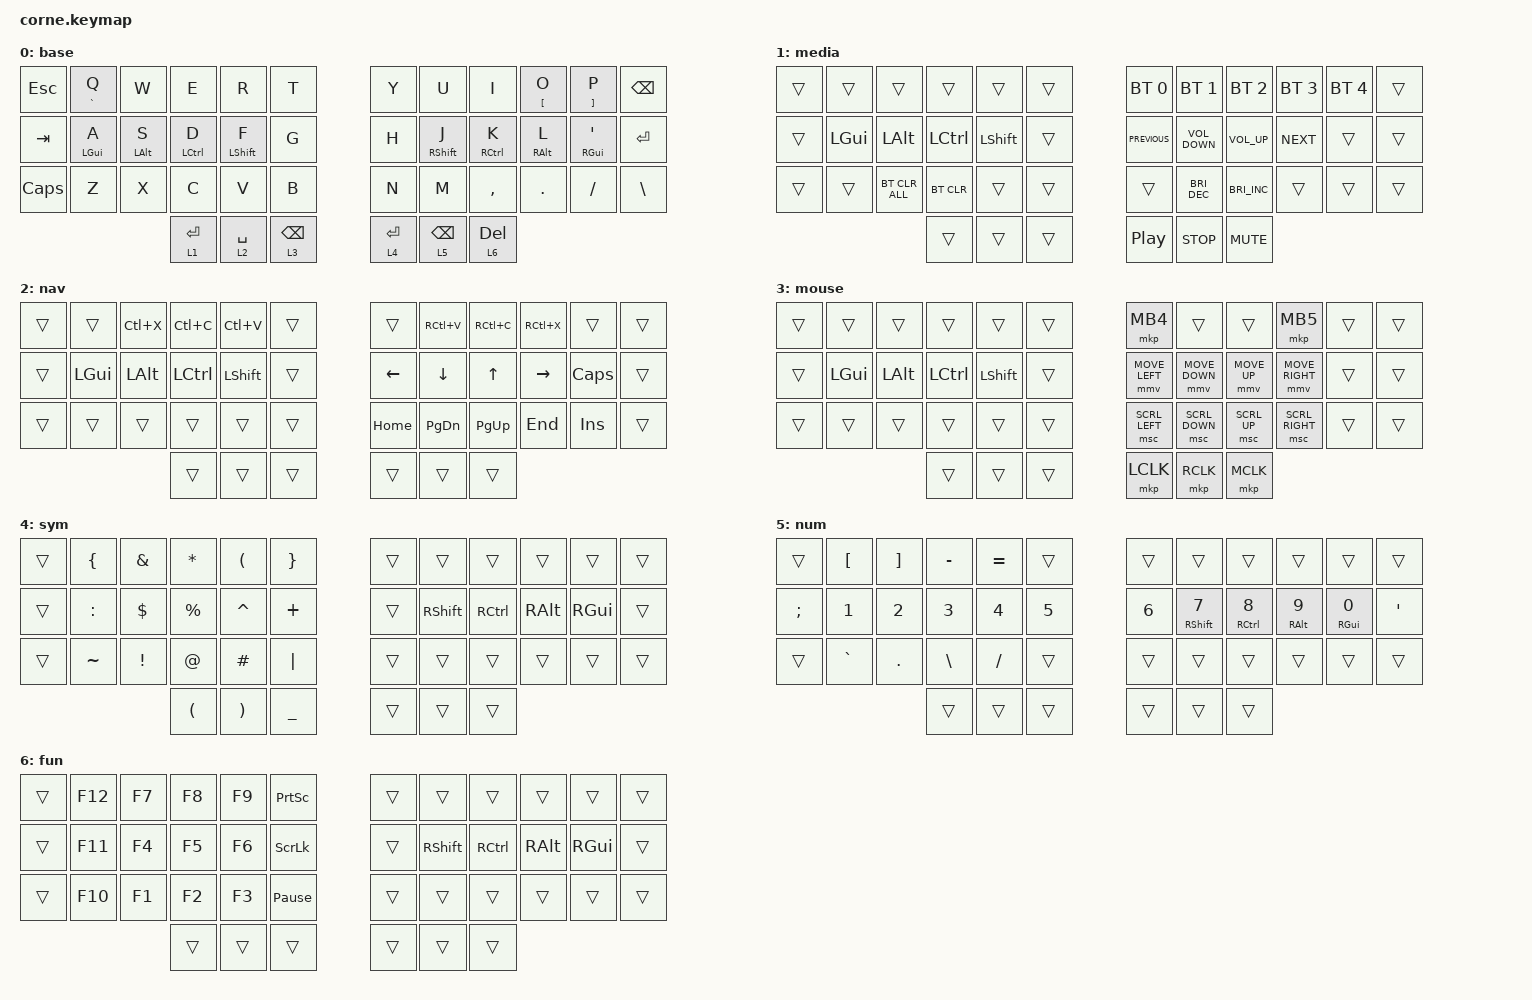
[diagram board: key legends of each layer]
/*
 * Copyright (c) 2020 The ZMK Contributors
 *
 * SPDX-License-Identifier: MIT
 */

#define ZMK_POINTING_DEFAULT_MOVE_VAL 1500  // default: 600
#define ZMK_POINTING_DEFAULT_SCRL_VAL 20    // default: 10

#include <behaviors.dtsi>
#include <dt-bindings/zmk/bt.h>
#include <dt-bindings/zmk/keys.h>
#include <dt-bindings/zmk/pointing.h>

/ {
    combos { compatible = "zmk,combos"; };

    behaviors {
        hml: hml {
            compatible = "zmk,behavior-hold-tap";
            label = "HML";
            bindings = <&kp>, <&kp>;

            #binding-cells = <2>;
            tapping-term-ms = <220>;
            quick-tap-ms = <175>;
            flavor = "balanced";
            require-prior-idle-ms = <100>;
            hold-trigger-key-positions = <39 40 41 30 18 6 7 9 10 11 18 19 20 21 22 23 30 31 32 33 34 35 40 41 8 36 37 38>;
            hold-trigger-on-release;
        };

        hmr: hmr {
            compatible = "zmk,behavior-hold-tap";
            label = "HMR";
            bindings = <&kp>, <&kp>;

            #binding-cells = <2>;
            tapping-term-ms = <220>;
            quick-tap-ms = <175>;
            require-prior-idle-ms = <100>;
            flavor = "balanced";
            hold-trigger-key-positions = <0 1 2 3 4 5 12 13 14 15 16 17 24 25 26 27 28 29 36 37 38 39 40 41>;
            hold-trigger-on-release;
        };

        tkl: tkl {
            compatible = "zmk,behavior-hold-tap";
            label = "TKL";
            bindings = <&mo>, <&kp>;

            #binding-cells = <2>;
            tapping-term-ms = <220>;
            quick-tap-ms = <175>;
            flavor = "balanced";
            require-prior-idle-ms = <100>;
            hold-trigger-key-positions = <39 40 41 30 18 6 7 9 10 11 18 19 20 21 22 23 30 31 32 33 34 35 40 41 8 38 37 36>;
            hold-trigger-on-release;
        };

        tkr: tkr {
            compatible = "zmk,behavior-hold-tap";
            label = "TKR";
            bindings = <&mo>, <&kp>;

            #binding-cells = <2>;
            tapping-term-ms = <220>;
            quick-tap-ms = <175>;
            require-prior-idle-ms = <100>;
            flavor = "balanced";
            hold-trigger-key-positions = <0 1 2 3 4 5 12 13 14 15 16 17 24 25 26 27 28 29 36 37 38 39 40 41>;
            hold-trigger-on-release;
        };
    };

    keymap {
        compatible = "zmk,keymap";

        base {
            // -----------------------------------------------------------------------------------------
            // |  TAB |  Q  |  W  |  E  |  R  |  T  |   |  Y  |  U   |  I  |  O  |  P  | BKSP |
            // | CTRL |  A  |  S  |  D  |  F  |  G  |   |  H  |  J   |  K  |  L  |  ;  |  '   |
            // | SHFT |  Z  |  X  |  C  |  V  |  B  |   |  N  |  M   |  ,  |  .  |  /  | ESC  |
            //                    | GUI | LWR | SPC |   | ENT | RSE  | ALT |

            bindings = <
&kp ESCAPE  &mt GRAVE Q      &kp W            &kp E                &kp R              &kp T               &kp Y         &kp U               &kp I                 &mt LEFT_BRACKET O  &mt RIGHT_BRACKET P  &kp BACKSPACE
&kp TAB     &hml LEFT_GUI A  &hml LEFT_ALT S  &hml LEFT_CONTROL D  &hml LEFT_SHIFT F  &kp G               &kp H         &hmr RIGHT_SHIFT J  &hmr RIGHT_CONTROL K  &hmr RIGHT_ALT L    &hmr RIGHT_GUI SQT   &kp ENTER
&kp CAPS    &kp Z            &kp X            &kp C                &kp V              &kp B               &kp N         &kp M               &kp COMMA             &kp DOT             &kp FSLH             &kp BACKSLASH
                                              &tkl 1 ENTER         &tkl 2 SPACE       &tkl 3 BACKSPACE    &tkr 4 ENTER  &tkr 5 BACKSPACE    &tkr 6 DELETE
            >;
        };

        media {
            bindings = <
&trans  &trans    &trans          &trans      &trans     &trans    &bt BT_SEL 0      &bt BT_SEL 1          &bt BT_SEL 2          &bt BT_SEL 3  &bt BT_SEL 4  &trans
&trans  &kp LGUI  &kp LALT        &kp LCTRL   &kp LSHFT  &trans    &kp C_PREVIOUS    &kp C_VOLUME_DOWN     &kp C_VOLUME_UP       &kp C_NEXT    &trans        &trans
&trans  &trans    &bt BT_CLR_ALL  &bt BT_CLR  &trans     &trans    &trans            &kp C_BRIGHTNESS_DEC  &kp C_BRIGHTNESS_INC  &trans        &trans        &trans
                                  &trans      &trans     &trans    &kp C_PLAY_PAUSE  &kp C_STOP            &kp C_MUTE
            >;
        };

        nav {
            bindings = <
&trans  &trans    &kp LC(X)  &kp LC(C)  &kp LC(V)  &trans    &trans          &kp RC(V)       &kp RC(C)     &kp RC(X)  &trans        &trans
&trans  &kp LGUI  &kp LALT   &kp LCTRL  &kp LSHFT  &trans    &kp LEFT_ARROW  &kp DOWN_ARROW  &kp UP_ARROW  &kp RIGHT  &kp CAPSLOCK  &trans
&trans  &trans    &trans     &trans     &trans     &trans    &kp HOME        &kp PAGE_DOWN   &kp PAGE_UP   &kp END    &kp INSERT    &trans
                             &trans     &trans     &trans    &trans          &trans          &trans
            >;
        };

        mouse {
            bindings = <
&trans  &trans    &trans        &trans            &trans          &trans    &mkp MB4        &trans          &trans        &mkp MB5         &trans  &trans
&trans  &kp LGUI  &kp LEFT_ALT  &kp LEFT_CONTROL  &kp LEFT_SHIFT  &trans    &mmv MOVE_LEFT  &mmv MOVE_DOWN  &mmv MOVE_UP  &mmv MOVE_RIGHT  &trans  &trans
&trans  &trans    &trans        &trans            &trans          &trans    &msc SCRL_LEFT  &msc SCRL_DOWN  &msc SCRL_UP  &msc SCRL_RIGHT  &trans  &trans
                                &trans            &trans          &trans    &mkp LCLK       &mkp RCLK       &mkp MCLK
            >;
        };

        sym {
            // -----------------------------------------------------------------------------------------
            // |  TAB |  1  |  2  |  3  |  4  |  5  |   |  6  |  7  |  8  |  9  |  0  | BKSP |
            // | BTCLR| BT1 | BT2 | BT3 | BT4 | BT5 |   | LFT | DWN |  UP | RGT |     |      |
            // | SHFT |     |     |     |     |     |   |     |     |     |     |     |      |
            //                    | GUI |     | SPC |   | ENT |     | ALT |

            bindings = <
&trans  &kp LEFT_BRACE  &kp AMPERSAND    &kp ASTERISK          &kp LEFT_PARENTHESIS   &kp RIGHT_BRACE    &trans  &trans     &trans     &trans    &trans    &trans
&trans  &kp COLON       &kp DOLLAR       &kp PERCENT           &kp CARET              &kp PLUS           &trans  &kp RSHFT  &kp RCTRL  &kp RALT  &kp RGUI  &trans
&trans  &kp TILDE       &kp EXCLAMATION  &kp AT                &kp HASH               &kp PIPE           &trans  &trans     &trans     &trans    &trans    &trans
                                         &kp LEFT_PARENTHESIS  &kp RIGHT_PARENTHESIS  &kp UNDER          &trans  &trans     &trans
            >;
        };

        num {
            bindings = <
&trans         &kp LBKT      &kp RBKT  &kp MINUS  &kp EQUAL  &trans    &trans  &trans         &trans         &trans        &trans        &trans
&kp SEMICOLON  &kp NUMBER_1  &kp N2    &kp N3     &kp N4     &kp N5    &kp N6  &hmr RSHFT N7  &hmr RCTRL N8  &hmr RALT N9  &hmr RGUI N0  &kp SQT
&trans         &kp GRAVE     &kp DOT   &kp BSLH   &kp FSLH   &trans    &trans  &trans         &trans         &trans        &trans        &trans
                                       &trans     &trans     &trans    &trans  &trans         &trans
            >;
        };

        fun {
            bindings = <
&trans  &kp F12  &kp F7  &kp F8  &kp F9  &kp PRINTSCREEN    &trans  &trans     &trans     &trans    &trans    &trans
&trans  &kp F11  &kp F4  &kp F5  &kp F6  &kp SCROLLLOCK     &trans  &kp RSHFT  &kp RCTRL  &kp RALT  &kp RGUI  &trans
&trans  &kp F10  &kp F1  &kp F2  &kp F3  &kp PAUSE_BREAK    &trans  &trans     &trans     &trans    &trans    &trans
                         &trans  &trans  &trans             &trans  &trans     &trans
            >;
        };
    };
};
